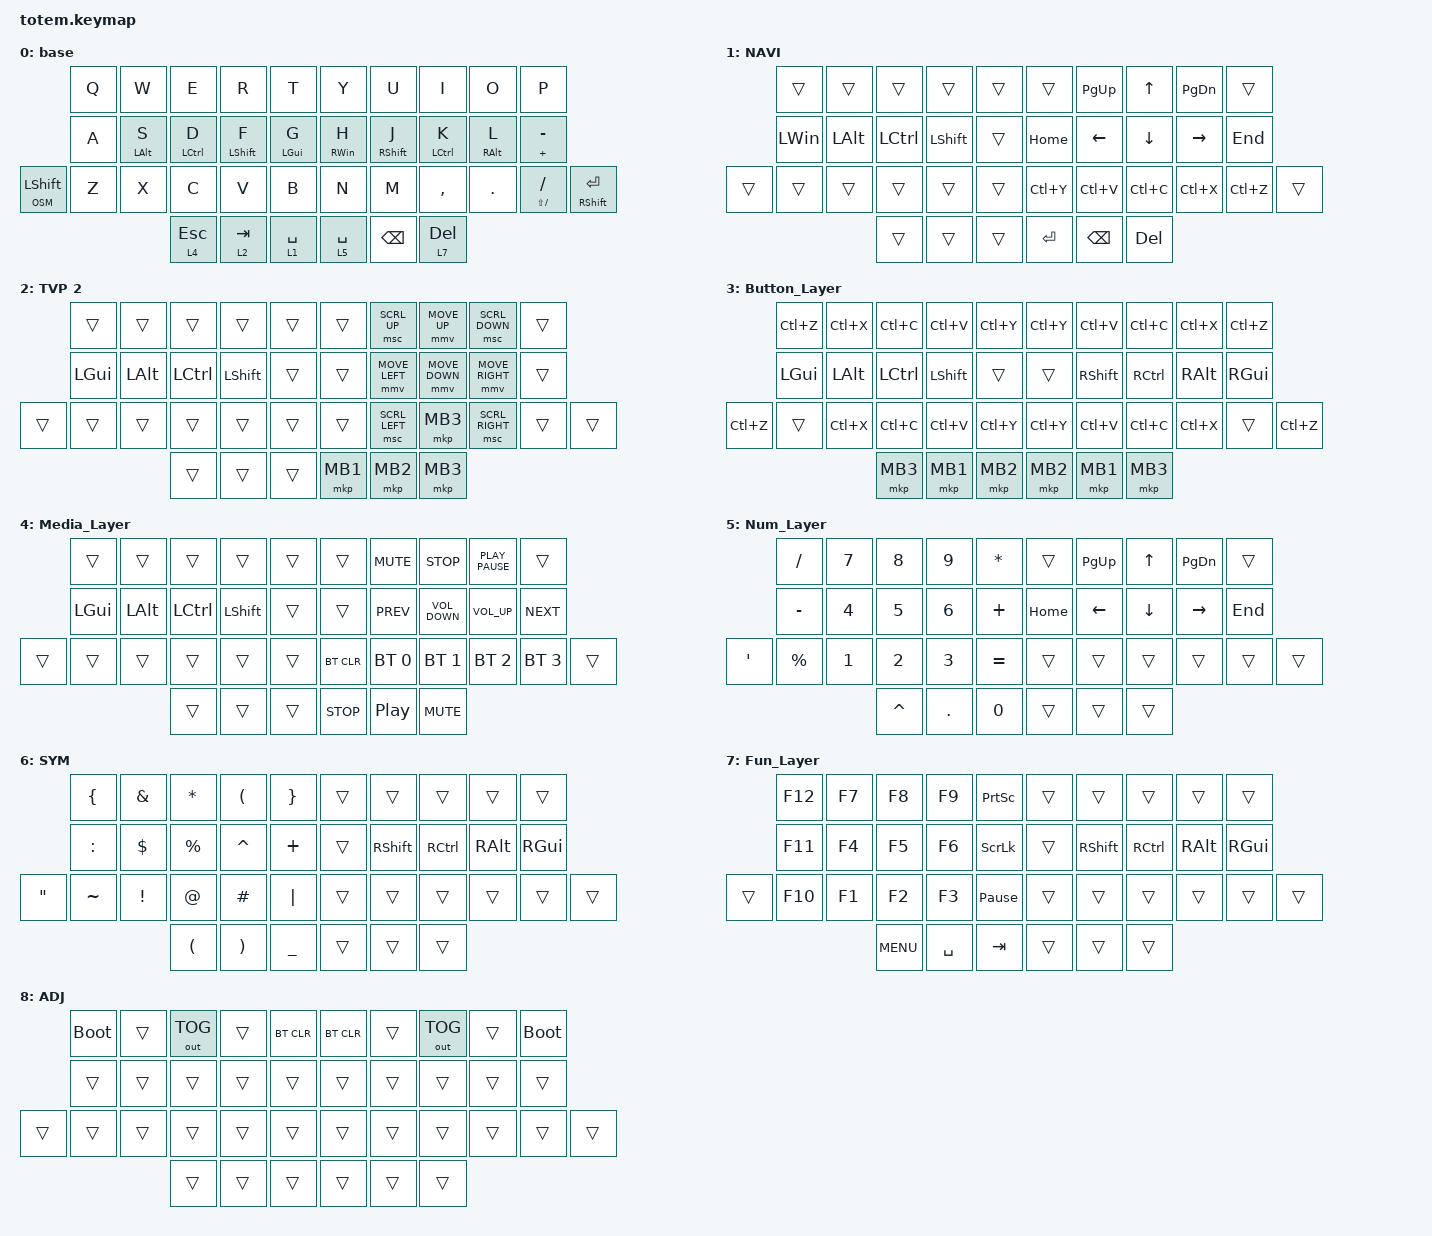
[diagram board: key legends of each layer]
//
//                                                        ▀▀▀▀▀     ▀▀▀▀▀          ▀▀█▀▀
//                                                        ▄▀▀▀▄  ▄  ▄▀▀▀▄  ▄  ▄▀▀▀▄  █  ▄▀▀▀▄
//                                                        █   █  █  █   █  █  █   █  █  █   █
//                                                         ▀▀▀   █   ▀▀▀   █   ▀▀▀   ▀   ▀▀▀
//                                                               █      ▄▄▄█▄▄▄    █   █  
//                                                               ▀      █  █  █     █▄█
//                                                             ▀▀▀▀▀    █  █  █      ▀
//                                                                      ▀  ▀  ▀
//
// ▄▄▄▄▄▄▄▄▄▄▄▄▄▄▄▄▄▄▄▄▄▄▄▄▄▄▄▄▄▄▄▄▄▄▄▄▄▄▄▄▄▄▄▄▄▄▄▄▄▄▄▄▄▄▄▄▄▄▄▄▄▄▄▄▄▄▄▄▄▄▄▄▄▄▄▄▄▄▄▄▄▄▄▄▄▄▄▄▄▄▄▄▄▄▄▄▄▄▄▄▄▄▄▄▄▄▄▄▄▄▄▄▄▄▄▄▄▄▄▄▄▄▄▄▄▄▄▄▄▄▄▄▄▄▄▄▄▄▄▄▄▄▄▄▄▄▄▄▄

#include <behaviors.dtsi>
#include <dt-bindings/zmk/bt.h>
#include <dt-bindings/zmk/keys.h>
#include <dt-bindings/zmk/outputs.h>
#include <dt-bindings/zmk/pointing.h>

#define BASE 0
#define NAV  1
#define SYM  2
#define ADJ  3
#define TVP1 4
#define TVP2 5

&mt {
    quick-tap-ms = <100>;
    global-quick-tap;
    flavor = "tap-preferred";
    tapping-term-ms = <250>;
};

/ {
    combos {
        compatible = "zmk,combos";

        AFlayer {
            bindings = <&mo 8>;
            key-positions = <20 31 34 35>;
        };

        chnglang {
            bindings = <&kp LG(SPACE)>;
            key-positions = <2 3>;
        };

        lang2 {
            bindings = <&kp LANG2>;
            key-positions = <2 1>;
        };

        lang1 {
            bindings = <&kp LANG1>;
            key-positions = <8 7>;
        };

        n1 {
            bindings = <&kp NUMBER_1>;
            key-positions = <0 10>;
        };

        n2 {
            bindings = <&kp NUMBER_2>;
            key-positions = <1 11>;
        };

        n3 {
            bindings = <&kp NUMBER_3>;
            key-positions = <2 12>;
        };

        n4 {
            bindings = <&kp NUMBER_4>;
            key-positions = <3 13>;
        };

        n5 {
            bindings = <&kp N5>;
            key-positions = <4 14>;
        };

        n6 {
            bindings = <&kp NUMBER_6>;
            key-positions = <15 5>;
        };

        n7 {
            bindings = <&kp N7>;
            key-positions = <6 16>;
        };

        n8 {
            bindings = <&kp NUMBER_8>;
            key-positions = <7 17>;
        };

        n9 {
            bindings = <&kp NUMBER_9>;
            key-positions = <8 18>;
        };

        n0 {
            bindings = <&kp NUMBER_0>;
            key-positions = <9 19>;
        };

        grave {
            bindings = <&mt LS(GRAVE) GRAVE>;
            key-positions = <0 1>;
        };

        bksp {
            bindings = <&kp BACKSPACE>;
            key-positions = <9 8>;
        };

        f2 {
            bindings = <&kp F2>;
            key-positions = <16 17>;
        };

        rt {
            bindings = <&kp LEFT_BRACE>;
            key-positions = <3 4>;
        };

        yu {
            bindings = <&kp RIGHT_BRACE>;
            key-positions = <5 6>;
        };

        fg {
            bindings = <&kp LEFT_PARENTHESIS>;
            key-positions = <13 14>;
        };

        hj {
            bindings = <&kp RIGHT_PARENTHESIS>;
            key-positions = <16 15>;
        };

        vb {
            bindings = <&kp LEFT_BRACKET>;
            key-positions = <24 25>;
        };

        nm {
            bindings = <&kp RIGHT_BRACKET>;
            key-positions = <26 27>;
        };

        equal {
            bindings = <&kp EQUAL>;
            key-positions = <27 28>;
        };

        semicolon {
            bindings = <&mt LS(SEMICOLON) SEMICOLON>;
            key-positions = <28 29>;
        };

        zx {
            bindings = <&kp LC(X)>;
            key-positions = <22 21>;
        };

        xc {
            bindings = <&kp LC(C)>;
            key-positions = <22 23>;
        };

        cv {
            bindings = <&kp LC(V)>;
            key-positions = <23 24>;
        };

        xv {
            bindings = <&kp LC(LS(V))>;
            key-positions = <24 22>;
        };

        exc {
            bindings = <&kp EXCLAMATION>;
            key-positions = <30 29>;
        };

        sq {
            bindings = <&mt LS(SQT) SQT>;
            key-positions = <19 18>;
        };

        cw {
            bindings = <&caps_word>;
            key-positions = <6 8>;
        };
    };

    behaviors {
        hm: homerow_mods {
            compatible = "zmk,behavior-hold-tap";
            label = "HOMEROW_MODS";
            bindings = <&kp>, <&kp>;

            #binding-cells = <2>;
            tapping-term-ms = <280>;
            quick-tap-ms = <175>;
            flavor = "tap-preferred";
            require-prior-idle-ms = <150>;
            hold-trigger-on-release;
        };

        OSM: OSM {
            compatible = "zmk,behavior-sticky-key";
            label = "OSM";
            bindings = <&kp>;
            #binding-cells = <1>;
            release-after-ms = <200>;
            quick-release;
        };

        osmkp: osmkp {
            compatible = "zmk,behavior-hold-tap";
            label = "OSMKP";
            bindings = <&kp>, <&kp>;

            #binding-cells = <2>;
            tapping-term-ms = <120>;
            flavor = "balanced";
            require-prior-idle-ms = <0>;
            quick-tap-ms = <0>;
            hold-trigger-key-positions = <22 0 10 21 1 2 23 24 3 4 25 14 34 36 35 37 33 32 26 27 15 5 6 7 28 8 29 9 19 30>;
            hold-trigger-on-release;
        };

        new_behavior: new_behavior {
            compatible = "zmk,behavior-hold-tap";
            label = "NEW_BEHAVIOR";
            bindings = <&kp>, <&kp>;

            #binding-cells = <2>;
            tapping-term-ms = <150>;
            flavor = "balanced";
            require-prior-idle-ms = <0>;
            quick-tap-ms = <0>;
            hold-trigger-key-positions = <22 0 10 21 1 2 23 24 3 4 25 14 34 36 35 37 33 32 26 27 15 5 6 7 28 8 29 9 19 30>;
            hold-trigger-on-release;
        };
    };

    keymap {
        compatible = "zmk,keymap";

        // ▄▄▄▄▄▄▄▄▄▄▄▄▄▄▄▄▄▄▄▄▄▄▄▄▄▄▄▄▄▄▄▄▄▄▄▄▄▄▄▄▄▄▄▄▄▄▄▄▄▄▄▄▄▄▄▄▄▄▄▄▄▄▄▄▄▄▄▄▄▄▄▄▄▄▄▄▄▄▄▄▄▄▄▄▄▄▄▄▄▄▄▄▄▄▄▄▄▄▄▄▄▄▄▄▄▄▄▄▄▄▄▄▄▄▄▄▄▄▄▄▄▄▄▄▄▄▄▄▄▄▄▄▄▄▄▄▄▄▄▄▄▄▄▄▄▄▄▄▄

        Base_Layer {
            // ┏━━━━━━━━━━━━━━━━━━━━━━━━━━━━━━━━━━━━━━━┓

            label = "base";

            // ┗━━━━━━━━━━━━━━━━━━━━━━━━━━━━━━━━━━━━━━━┛
            //             ┏━━━━━━━━━━━┳━━━━━━━━━━━┳━━━━━━━━━━━┳━━━━━━━━━━━┳━━━━━━━━━━━┓   ┏━━━━━━━━━━━┳━━━━━━━━━━━┳━━━━━━━━━━━┳━━━━━━━━━━━┳━━━━━━━━━━━┓
            //             ┃     Q     ┃     W     ┃     F     ┃     P     ┃     G     ┃   ┃     J     ┃     L     ┃     U     ┃     Y     ┃     ;     ┃
            //             ┣━━━━━━━━━━━╋━━━━━━━━━━━╋━━━━━━━━━━━╋━━━━━━━━━━━╋━━━━━━━━━━━┫   ┣━━━━━━━━━━━╋━━━━━━━━━━━╋━━━━━━━━━━━╋━━━━━━━━━━━╋━━━━━━━━━━━┫
            //             ┃     A     ┃     R     ┃     S     ┃     T     ┃     D     ┃   ┃     H     ┃     N     ┃     E     ┃     I     ┃     O     ┃
            // ┏━━━━━━━━━━━╋━━━━━━━━━━━╋━━━━━━━━━━━╋━━━━━━━━━━━╋━━━━━━━━━━━╋━━━━━━━━━━━┫   ┣━━━━━━━━━━━╋━━━━━━━━━━━╋━━━━━━━━━━━╋━━━━━━━━━━━╋━━━━━━━━━━━╋━━━━━━━━━━━┓
            // ┃     Q     ┃     Z     ┃     X     ┃     C     ┃     V     ┃     B     ┃   ┃     K     ┃     M     ┃     ,     ┃     .     ┃     /     ┃     \     ┃
            // ┗━━━━━━━━━━━┻━━━━━━━━━━━┻━━━━━━━━━━━╋━━━━━━━━━━━╋━━━━━━━━━━━╋━━━━━━━━━━━┫   ┣━━━━━━━━━━━╋━━━━━━━━━━━╋━━━━━━━━━━━╋━━━━━━━━━━━┻━━━━━━━━━━━┻━━━━━━━━━━━┛
            //                                     ┃    DEL    ┃    TAB    ┃    SPC    ┃   ┃   ENTER   ┃           ┃   BSPC    ┃
            //                                     ┗━━━━━━━━━━━┻━━━━━━━━━━━┻━━━━━━━━━━━┛   ┗━━━━━━━━━━━┻━━━━━━━━━━━┻━━━━━━━━━━━┛

            bindings = <
                 &kp Q  &kp W       &kp E         &kp R        &kp T             &kp Y            &kp U          &kp I        &kp O       &kp P
                 &kp A  &hm LALT S  &hm LCTRL D   &hm LSHFT F  &hm LEFT_GUI G    &hm RIGHT_WIN H  &hm RSHFT J    &hm LCTRL K  &hm RALT L  &mt PLUS MINUS
&OSM LEFT_SHIFT  &kp Z  &kp X       &kp C         &kp V        &kp B             &kp N            &kp M          &kp COMMA    &kp DOT     &mt LS(SLASH) SLASH  &osmkp RIGHT_SHIFT RET
                                    &lt 4 ESCAPE  &lt 2 TAB    &lt 1 SPACE       &lt 5 SPACE      &kp BACKSPACE  &lt 7 DEL
            >;
        };

        Nav_Layer {
            // ┏━━━━━━━━━━━━━━━━━━━━━━━━━━━━━━━━━━━━━━━┓

            label = "NAVI";

            // ┗━━━━━━━━━━━━━━━━━━━━━━━━━━━━━━━━━━━━━━━┛
            //             ┏━━━━━━━━━━━┳━━━━━━━━━━━┳━━━━━━━━━━━┳━━━━━━━━━━━┳━━━━━━━━━━━┓   ┏━━━━━━━━━━━┳━━━━━━━━━━━┳━━━━━━━━━━━┳━━━━━━━━━━━┳━━━━━━━━━━━┓
            //             ┃           ┃           ┃     UP    ┃           ┃     {     ┃   ┃     }     ┃     7     ┃     8     ┃     9     ┃     +     ┃
            //             ┣━━━━━━━━━━━╋━━━━━━━━━━━╋━━━━━━━━━━━╋━━━━━━━━━━━╋━━━━━━━━━━━┫   ┣━━━━━━━━━━━╋━━━━━━━━━━━╋━━━━━━━━━━━╋━━━━━━━━━━━╋━━━━━━━━━━━┫
            //             ┃   SHIFT   ┃   LEFT    ┃    DOWN   ┃   RIGHT   ┃     [     ┃   ┃     ]     ┃     4     ┃     5     ┃     6     ┃     -     ┃
            // ┏━━━━━━━━━━━╋━━━━━━━━━━━╋━━━━━━━━━━━╋━━━━━━━━━━━╋━━━━━━━━━━━╋━━━━━━━━━━━┫   ┣━━━━━━━━━━━╋━━━━━━━━━━━╋━━━━━━━━━━━╋━━━━━━━━━━━╋━━━━━━━━━━━╋━━━━━━━━━━━┓
            // ┃           ┃           ┃   P UP    ┃  C LOCK   ┃  P DOWN   ┃     (     ┃   ┃     )     ┃     1     ┃     2     ┃     3     ┃     *     ┃           ┃
            // ┗━━━━━━━━━━━┻━━━━━━━━━━━┻━━━━━━━━━━━╋━━━━━━━━━━━╋━━━━━━━━━━━╋━━━━━━━━━━━┫   ┣━━━━━━━━━━━╋━━━━━━━━━━━╋━━━━━━━━━━━╋━━━━━━━━━━━┻━━━━━━━━━━━┻━━━━━━━━━━━┛
            //                                     ┃           ┃    TAB    ┃    SPC    ┃   ┃    DEL    ┃     0     ┃           ┃
            //                                     ┗━━━━━━━━━━━┻━━━━━━━━━━━┻━━━━━━━━━━━┛   ┗━━━━━━━━━━━┻━━━━━━━━━━━┻━━━━━━━━━━━┛

            bindings = <
        &trans        &trans        &trans            &trans          &trans    &trans     &kp PG_UP      &kp UP      &kp PAGE_DOWN  &trans
        &kp LEFT_WIN  &kp LEFT_ALT  &kp LEFT_CONTROL  &kp LEFT_SHIFT  &trans    &kp HOME   &kp LEFT       &kp DOWN    &kp RIGHT      &kp END
&trans  &trans        &trans        &trans            &trans          &trans    &kp LC(Y)  &kp LC(V)      &kp LC(C)   &kp LC(X)      &kp LC(Z)  &trans
                                    &trans            &trans          &trans    &kp RET    &kp BACKSPACE  &kp DELETE
            >;
        };

        MouseLayer {
            // ┏━━━━━━━━━━━━━━━━━━━━━━━━━━━━━━━━━━━━━━━┓

            label = "TVP 2";

            // ┗━━━━━━━━━━━━━━━━━━━━━━━━━━━━━━━━━━━━━━━┛
            //             ┏━━━━━━━━━━━┳━━━━━━━━━━━┳━━━━━━━━━━━┳━━━━━━━━━━━┳━━━━━━━━━━━┓   ┏━━━━━━━━━━━┳━━━━━━━━━━━┳━━━━━━━━━━━┳━━━━━━━━━━━┳━━━━━━━━━━━┓
            //             ┃ SOLO      ┃ TOGGLE IN ┃ RESET ROT ┃ TOGGLE OUT┃ TAKE SNAP ┃   ┃           ┃           ┃           ┃           ┃           ┃
            //             ┣━━━━━━━━━━━╋━━━━━━━━━━━╋━━━━━━━━━━━╋━━━━━━━━━━━╋━━━━━━━━━━━┫   ┣━━━━━━━━━━━╋━━━━━━━━━━━╋━━━━━━━━━━━╋━━━━━━━━━━━╋━━━━━━━━━━━┫
            //             ┃ ---       ┃ LAST KEY  ┃ NEW KEY   ┃ NEXT KEY  ┃ ENTER     ┃   ┃           ┃           ┃           ┃           ┃           ┃
            // ┏━━━━━━━━━━━╋━━━━━━━━━━━╋━━━━━━━━━━━╋━━━━━━━━━━━╋━━━━━━━━━━━╋━━━━━━━━━━━┫   ┣━━━━━━━━━━━╋━━━━━━━━━━━╋━━━━━━━━━━━╋━━━━━━━━━━━╋━━━━━━━━━━━╋━━━━━━━━━━━┓
            // ┃           ┃ FULLSCR   ┃ CPY2BRUSH ┃ DEL HEAD  ┃ PSTinPLACE┃ BOOK MARK ┃   ┃           ┃           ┃           ┃           ┃           ┃           ┃
            // ┗━━━━━━━━━━━┻━━━━━━━━━━━┻━━━━━━━━━━━╋━━━━━━━━━━━╋━━━━━━━━━━━╋━━━━━━━━━━━┫   ┣━━━━━━━━━━━╋━━━━━━━━━━━╋━━━━━━━━━━━╋━━━━━━━━━━━┻━━━━━━━━━━━┻━━━━━━━━━━━┛
            //                                     ┃           ┃ REDO/SAV1 ┃TRANS/WARP ┃   ┃           ┃           ┃           ┃
            //                                     ┗━━━━━━━━━━━┻━━━━━━━━━━━┻━━━━━━━━━━━┛   ┗━━━━━━━━━━━┻━━━━━━━━━━━┻━━━━━━━━━━━┛

            bindings = <
        &trans        &trans        &trans     &trans          &trans    &trans    &msc SCRL_UP    &mmv MOVE_UP    &msc SCRL_DOWN   &trans
        &kp LEFT_GUI  &kp LEFT_ALT  &kp LCTRL  &kp LEFT_SHIFT  &trans    &trans    &mmv MOVE_LEFT  &mmv MOVE_DOWN  &mmv MOVE_RIGHT  &trans
&trans  &trans        &trans        &trans     &trans          &trans    &trans    &msc SCRL_LEFT  &mkp MB3        &msc SCRL_RIGHT  &trans  &trans
                                    &trans     &trans          &trans    &mkp MB1  &mkp MB2        &mkp MB3
            >;
        };

        Button_Layer {
            bindings = <
           &kp LC(Z)     &kp LC(X)     &kp LC(C)         &kp LC(V)       &kp LC(Y)    &kp LC(Y)  &kp LC(V)        &kp LC(C)  &kp LC(X)      &kp LC(Z)
           &kp LEFT_GUI  &kp LEFT_ALT  &kp LEFT_CONTROL  &kp LEFT_SHIFT  &trans       &trans     &kp RIGHT_SHIFT  &kp RCTRL  &kp RIGHT_ALT  &kp RIGHT_GUI
&kp LC(Z)  &trans        &kp LC(X)     &kp LC(C)         &kp LC(V)       &kp LC(Y)    &kp LC(Y)  &kp LC(V)        &kp LC(C)  &kp LC(X)      &trans         &kp LC(Z)
                                       &mkp MB3          &mkp MB1        &mkp MB2     &mkp MB2   &mkp MB1         &mkp MB3
            >;
        };

        Media_Layer {
            bindings = <
        &trans        &trans        &trans     &trans          &trans    &trans      &kp K_MUTE        &kp K_STOP         &kp K_PLAY_PAUSE  &trans
        &kp LEFT_GUI  &kp LEFT_ALT  &kp LCTRL  &kp LEFT_SHIFT  &trans    &trans      &kp C_PREV        &kp C_VOLUME_DOWN  &kp C_VOLUME_UP   &kp C_NEXT
&trans  &trans        &trans        &trans     &trans          &trans    &bt BT_CLR  &bt BT_SEL 0      &bt BT_SEL 1       &bt BT_SEL 2      &bt BT_SEL 3  &trans
                                    &trans     &trans          &trans    &kp C_STOP  &kp C_PLAY_PAUSE  &kp C_MUTE
            >;
        };

        Num_Layer {
            bindings = <
         &kp SLASH    &kp N7        &kp N8        &kp N9        &kp ASTERISK    &trans    &kp PG_UP  &kp UP    &kp PG_DN  &trans
         &kp MINUS    &kp NUMBER_4  &kp N5        &kp NUMBER_6  &kp PLUS        &kp HOME  &kp LEFT   &kp DOWN  &kp RIGHT  &kp END
&kp SQT  &kp PERCENT  &kp NUMBER_1  &kp NUMBER_2  &kp NUMBER_3  &kp EQUAL       &trans    &trans     &trans    &trans     &trans   &trans
                                    &kp CARET     &kp PERIOD    &kp NUMBER_0    &trans    &trans     &trans
            >;
        };

        Sim_Layer {
            // ┏━━━━━━━━━━━━━━━━━━━━━━━━━━━━━━━━━━━━━━━┓

            label = "SYM";

            // ┗━━━━━━━━━━━━━━━━━━━━━━━━━━━━━━━━━━━━━━━┛
            //             ┏━━━━━━━━━━━┳━━━━━━━━━━━┳━━━━━━━━━━━┳━━━━━━━━━━━┳━━━━━━━━━━━┓   ┏━━━━━━━━━━━┳━━━━━━━━━━━┳━━━━━━━━━━━┳━━━━━━━━━━━┳━━━━━━━━━━━┓
            //             ┃     !     ┃     @     ┃     #     ┃     $     ┃     %     ┃   ┃     ˆ     ┃     &     ┃     Ü     ┃     '     ┃     "     ┃
            //             ┣━━━━━━━━━━━╋━━━━━━━━━━━╋━━━━━━━━━━━╋━━━━━━━━━━━╋━━━━━━━━━━━┫   ┣━━━━━━━━━━━╋━━━━━━━━━━━╋━━━━━━━━━━━╋━━━━━━━━━━━╋━━━━━━━━━━━┫
            //             ┃     Ä     ┃           ┃    SZ     ┃           ┃           ┃   ┃   MUTE    ┃   YEN     ┃   EURO    ┃  POUND    ┃     Ö     ┃
            // ┏━━━━━━━━━━━╋━━━━━━━━━━━╋━━━━━━━━━━━╋━━━━━━━━━━━╋━━━━━━━━━━━╋━━━━━━━━━━━┫   ┣━━━━━━━━━━━╋━━━━━━━━━━━╋━━━━━━━━━━━╋━━━━━━━━━━━╋━━━━━━━━━━━╋━━━━━━━━━━━┓
            // ┃           ┃  EMAIL1   ┃  EMAIL2   ┃           ┃           ┃           ┃   ┃   VOL-    ┃   VOL+    ┃   LAST    ┃   NEXT    ┃     \     ┃           ┃
            // ┗━━━━━━━━━━━┻━━━━━━━━━━━┻━━━━━━━━━━━╋━━━━━━━━━━━╋━━━━━━━━━━━╋━━━━━━━━━━━┫   ┣━━━━━━━━━━━╋━━━━━━━━━━━╋━━━━━━━━━━━╋━━━━━━━━━━━┻━━━━━━━━━━━┻━━━━━━━━━━━┛
            //                                     ┃           ┃    GIF    ┃    ADJ    ┃   ┃           ┃           ┃           ┃
            //                                     ┗━━━━━━━━━━━┻━━━━━━━━━━━┻━━━━━━━━━━━┛   ┗━━━━━━━━━━━┻━━━━━━━━━━━┻━━━━━━━━━━━┛

            bindings = <
                   &kp LEFT_BRACE  &kp AMPERSAND    &kp ASTERISK          &kp LEFT_PARENTHESIS   &kp RIGHT_BRACE    &trans  &trans           &trans     &trans         &trans
                   &kp COLON       &kp DOLLAR       &kp PERCENT           &kp CARET              &kp PLUS           &trans  &kp RIGHT_SHIFT  &kp RCTRL  &kp RIGHT_ALT  &kp RIGHT_GUI
&kp DOUBLE_QUOTES  &kp TILDE       &kp EXCLAMATION  &kp AT_SIGN           &kp HASH               &kp PIPE           &trans  &trans           &trans     &trans         &trans         &trans
                                                    &kp LEFT_PARENTHESIS  &kp RIGHT_PARENTHESIS  &kp UNDERSCORE     &trans  &trans           &trans
            >;
        };

        Fun_Layer {
            bindings = <
        &kp F12  &kp F7  &kp F8      &kp F9     &kp PRINTSCREEN    &trans  &trans           &trans     &trans         &trans
        &kp F11  &kp F4  &kp F5      &kp F6     &kp SCROLLLOCK     &trans  &kp RIGHT_SHIFT  &kp RCTRL  &kp RIGHT_ALT  &kp RIGHT_GUI
&trans  &kp F10  &kp F1  &kp F2      &kp F3     &kp PAUSE_BREAK    &trans  &trans           &trans     &trans         &trans         &trans
                         &kp C_MENU  &kp SPACE  &kp TAB            &trans  &trans           &trans
            >;
        };

        Additional_Features {
            // ┏━━━━━━━━━━━━━━━━━━━━━━━━━━━━━━━━━━━━━━━┓

            label = "ADJ";

            // ┗━━━━━━━━━━━━━━━━━━━━━━━━━━━━━━━━━━━━━━━┛
            //             ┏━━━━━━━━━━━┳━━━━━━━━━━━┳━━━━━━━━━━━┳━━━━━━━━━━━┳━━━━━━━━━━━┓   ┏━━━━━━━━━━━┳━━━━━━━━━━━┳━━━━━━━━━━━┳━━━━━━━━━━━┳━━━━━━━━━━━┓
            //             ┃   RESET   ┃ BT CLEAR  ┃  OUT TOG  ┃           ┃           ┃   ┃           ┃    F7     ┃    F8     ┃    F9     ┃    F12    ┃
            //             ┣━━━━━━━━━━━╋━━━━━━━━━━━╋━━━━━━━━━━━╋━━━━━━━━━━━╋━━━━━━━━━━━┫   ┣━━━━━━━━━━━╋━━━━━━━━━━━╋━━━━━━━━━━━╋━━━━━━━━━━━╋━━━━━━━━━━━┫
            //             ┃ BOOTLOAD  ┃ BT NEXT   ┃           ┃           ┃           ┃   ┃           ┃    F4     ┃    F5     ┃    F6     ┃    F11    ┃
            // ┏━━━━━━━━━━━╋━━━━━━━━━━━╋━━━━━━━━━━━╋━━━━━━━━━━━╋━━━━━━━━━━━╋━━━━━━━━━━━┫   ┣━━━━━━━━━━━╋━━━━━━━━━━━╋━━━━━━━━━━━╋━━━━━━━━━━━╋━━━━━━━━━━━╋━━━━━━━━━━━┓
            // ┃           ┃           ┃ BT PREV   ┃           ┃           ┃           ┃   ┃           ┃    F1     ┃    F2     ┃    F3     ┃    F10    ┃           ┃
            // ┗━━━━━━━━━━━┻━━━━━━━━━━━┻━━━━━━━━━━━╋━━━━━━━━━━━╋━━━━━━━━━━━╋━━━━━━━━━━━┫   ┣━━━━━━━━━━━╋━━━━━━━━━━━╋━━━━━━━━━━━╋━━━━━━━━━━━┻━━━━━━━━━━━┻━━━━━━━━━━━┛
            //                                     ┃           ┃           ┃           ┃   ┃           ┃           ┃           ┃
            //                                     ┗━━━━━━━━━━━┻━━━━━━━━━━━┻━━━━━━━━━━━┛   ┗━━━━━━━━━━━┻━━━━━━━━━━━┻━━━━━━━━━━━┛

            bindings = <
        &bootloader  &trans  &out OUT_TOG  &trans  &bt BT_CLR    &bt BT_CLR  &trans  &out OUT_TOG  &trans  &bootloader
        &trans       &trans  &trans        &trans  &trans        &trans      &trans  &trans        &trans  &trans
&trans  &trans       &trans  &trans        &trans  &trans        &trans      &trans  &trans        &trans  &trans       &trans
                             &trans        &trans  &trans        &trans      &trans  &trans
            >;
        };
    };
};
